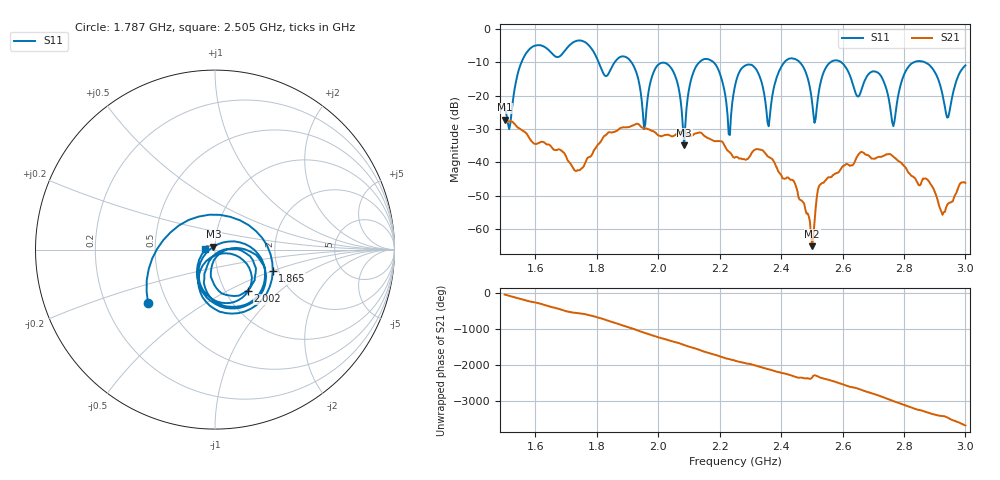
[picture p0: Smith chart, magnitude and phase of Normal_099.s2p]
# HZ S RI R 50
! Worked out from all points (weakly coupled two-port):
!   404 points, 1.5 GHz to 3 GHz, reference 50 ohm
!   highest |S21| = -27.26 dB at 1.5 GHz (marker M1); lowest = -65.1 dB at 2.501 GHz (marker M2)
!   lowest |S11| = -34.9 dB at 2.084 GHz (marker M3), VSWR 1.04, Z = 49.1 + j1.54 ohm
!   |S11| at or under -10 dB: 1.913 GHz to 2.134 GHz (221.8 MHz wide, 11 % of centre); 2.18 GHz to 2.411 GHz (231 MHz wide, 10.1 % of centre); 2.595 GHz to 2.833 GHz (238 MHz wide, 8.77 % of centre) (the widest 3 of 7)
!   S12 and S22 are empty: the file has one direction only
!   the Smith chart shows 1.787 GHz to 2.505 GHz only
!   S11 on the Smith chart (normalised r, x): 1.787 GHz: 0.39, -0.30; 1.865 GHz: 1.86, -0.50; 2.002 GHz: 1.27, -0.64; 2.505 GHz: 0.90, +0.00
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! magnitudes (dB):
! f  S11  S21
! 1.5 GHz  -23.4  -27.3
! 1.586 GHz  -5.7  -33.4
! 1.753 GHz  -3.6  -41.7
! 1.787 GHz  -6.4  -37.3
! 1.865 GHz  -9.3  -30.6
! 1.921 GHz  -11.2  -28.9
! 1.954 GHz  -30.0  -29.9
! 2.002 GHz  -10.6  -32.0
! 2.084 GHz  -34.9  -30.8
! 2.14 GHz  -9.5  -31.2
! 2.23 GHz  -31.6  -36.7
! 2.252 GHz  -16.4  -38.4
! 2.311 GHz  -11.3  -36.4
! 2.36 GHz  -29.2  -38.4
! 2.442 GHz  -8.9  -45.7
! 2.501 GHz  -22.2  -65.1
! 2.505 GHz  -25.3  -62.3
! 2.576 GHz  -9.5  -43.4
! 2.751 GHz  -21.0  -37.5
! 2.859 GHz  -9.7  -45.5
! 2.944 GHz  -26.5  -52.3
! 3 GHz  -11.0  -46.2
